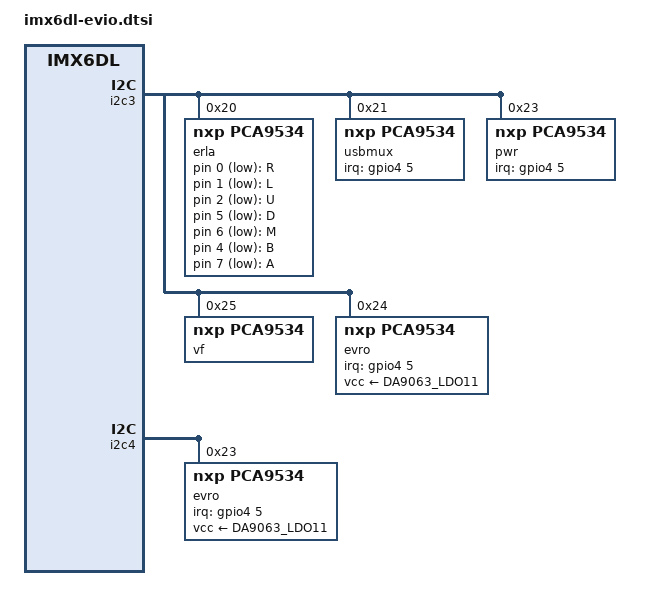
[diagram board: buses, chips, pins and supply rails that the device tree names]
// SPDX-License-Identifier: GPL-2.0+
/*
 * Copyright 2023 FLIR Systems.
 *
 * The code contained herein is licensed under the GNU General Public
 * License. You may obtain a copy of the GNU General Public License
 * Version 2 or later at the following locations:
 *
 * http://www.opensource.org/licenses/gpl-license.html
 * http://www.gnu.org/copyleft/gpl.html
 */

/ {
	erla-keyboard {
		compatible = "gpio-keys";

		keyboard_right {
			label = "R";
			gpios = <&evio_pca9534_0x40 0 GPIO_ACTIVE_LOW>;
		};
		keyboard_left {
			label = "L";
			gpios = <&evio_pca9534_0x40 1 GPIO_ACTIVE_LOW>;
		};
		keyboard_up {
			label = "U";
			gpios = <&evio_pca9534_0x40 2 GPIO_ACTIVE_LOW>;
		};
		keyboard_down {
			label = "D";
			gpios = <&evio_pca9534_0x40 5 GPIO_ACTIVE_LOW>;
		};
		keyboard_middle {
			label = "M"; // A.k.a. "press"
			gpios = <&evio_pca9534_0x40 6 GPIO_ACTIVE_LOW>;
		};
		keyboard_back {
			label = "B";
			gpios = <&evio_pca9534_0x40 4 GPIO_ACTIVE_LOW>;
		};
		keyboard_archive {
			label = "A";
			gpios = <&evio_pca9534_0x40 7 GPIO_ACTIVE_LOW>;
		};
	};
};

&i2c3 {
	evio_pca9534_0x40: evio_pca9534_0x40@20 {
		// Keyboard I/O expander
		label = "erla";
		compatible = "nxp,pca9534";
		reg = <0x20>;
		gpio-controller;
		#gpio-cells = <2>;
		gpio-line-names = "IO0_Right", "IO1_Left", "IO2_Up", "", "IO4_Back",
		"IO5_Down", "IO6_Mid", "IO7_Arkiv";
	};

	leif_pca9534_0x42: leif_pca9534_0x42@21 {
		// USBC MUX control I/O expander
		label = "usbmux";
		compatible = "nxp,pca9534";
		reg = <0x21>;
		gpio-controller;
		interrupt-parent = <&gpio4>; //I2C3_Alert_n
		interrupts = <5 IRQ_TYPE_EDGE_FALLING>;
		interrupt-controller;
		interrupts-shared;
		#interrupt-cells = <2>;
		#gpio-cells = <2>;
		// EVIO:
		// gpio-line-names =
		// "AutoFocus_n", "KB_SOFT", "USBMUX_POL", "USBMUX_AMSEL",
		// "USBMUX_EN", "GPS_SPARE", "DP_HPD", "";
		// LEIF:
		// gpio-line-names =
		// "SD1_LED_n", "CHG_OTG", "USBMUX_POL", "USBMUX_AMSEL",
		// "USBMUX_EN", "AMB_RES_n", "TP_LED_EN", "SD1_WP";
	};

	leif_pca9534_0x46: leif_pca9534_0x46@23 {
		// Power ctrl I/O Expander
		label = "pwr";
		compatible = "nxp,pca9534";
		reg = <0x23>;
		gpio-controller;
		interrupt-parent = <&gpio4>; //I2C3_Alert_n
		interrupts = <5 IRQ_TYPE_EDGE_FALLING>;
		interrupt-controller;
		interrupts-shared;
		#interrupt-cells = <2>;
		#gpio-cells = <2>;
		// LEIF:
		// gpio-line-names =
		// "AUDIO_EN", "IO[3]", "Audio_Reset_n", "AutoFocus_n",
		// "KB_SOFT", "3V15_GP_EN", "GPS_SPARE", "4VA_BW_EN";
		// EVIO:
		// gpio-line-names =
		// "Audio_Reset_n", "3V15_GP_EN", "4VA_BW_EN", "SD1_WP",
		// "SD1_LED_n", "CHG_OTG", "AUDIO_EN", "TP_Reset_n";
	};

	leif_pca9534_0x4a: leif_pca9534_0x4a@25 {
		// LEIF: Viewfinder control I/O expander
		// EVIO: Not existing
		label = "vf";
		compatible = "nxp,pca9534";
		reg = <0x25>;
		gpio-controller;
		#gpio-cells = <2>;
		gpio-line-names =
		"VF_1V8_EN", "VF_4V5_EN", "NC", "TP_Reset_n",
		"LCD_MIPI_SEL", "LCD_MIPI_EN_n", "VF_RST_n";
	};

	evro_pca9534_0x48: evro_pca9534_0x48@24 {
		// Expander on EVRO board
		label = "evro";
		compatible = "nxp,pca9534";
		reg = <0x24>;
		gpio-controller;
		vcc-supply = <&DA9063_LDO11>;
		interrupt-parent = <&gpio4>; //I2C3_Alert_n
		//interrupts = <7 IRQ_TYPE_EDGE_FALLING>;  //ec101-c
		interrupts = <5 IRQ_TYPE_EDGE_FALLING>;    //ec101-d
		interrupt-controller;
		interrupts-shared;
		#interrupt-cells = <2>;
		#gpio-cells = <2>;
		gpio-line-names =
		"VCM_CL_EN_n", "Spare", "Sleep_n", "LDM_3V0_EN",
		"Optics_n", "Key_Pad_1_n", "Key_Pad_2_n", "Key_Pad_3_n";
	};
};

&i2c4 {
	evro_pca9534_0x46: evro_pca9534_0x46@23 {
		label = "evro";
		compatible = "nxp,pca9534";
		reg = <0x23>;
		gpio-controller;
		vcc-supply = <&DA9063_LDO11>;
		interrupt-parent = <&gpio4>; //I2C3_Alert_n
		interrupts = <5 IRQ_TYPE_EDGE_FALLING>;
		interrupt-controller;
		interrupts-shared;
		#interrupt-cells = <2>;
		#gpio-cells = <2>;
		gpio-line-names =
		"VCM_DOVDD_EN", "BB_En", "VCM_PWDN", "VCM_RESET_n",
		"OPTICS_POWER_En", "Led_On", "POSITION_SENSOR_EN_n", "RING_SENSOR_EN_n";
	};
};
